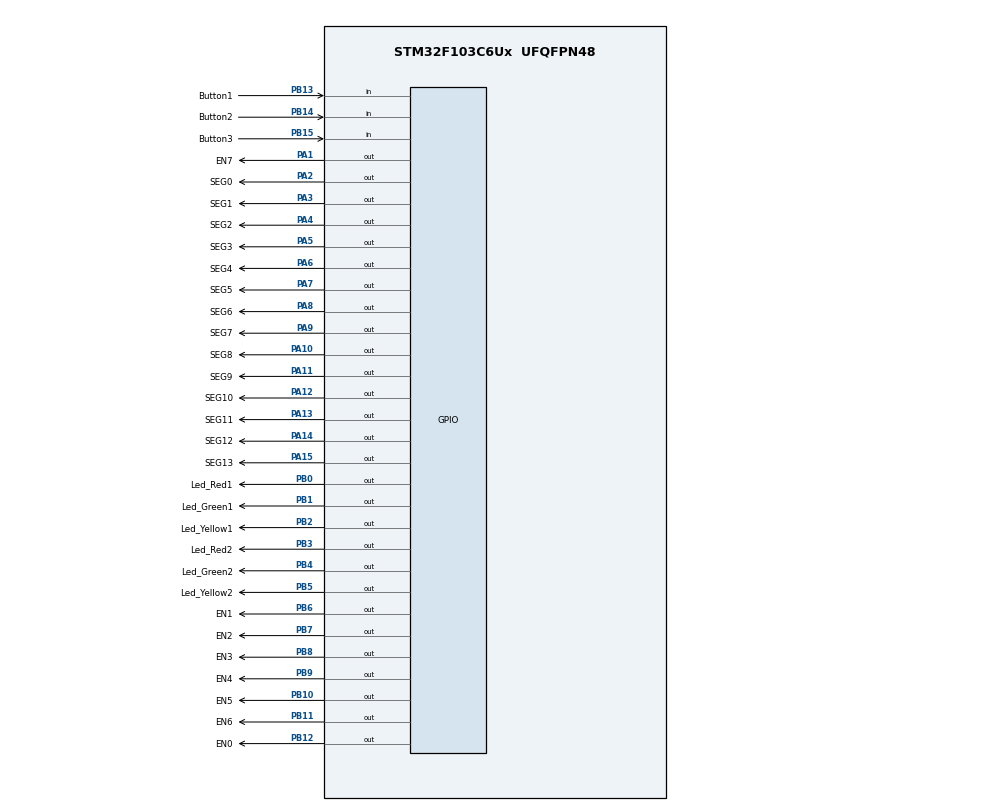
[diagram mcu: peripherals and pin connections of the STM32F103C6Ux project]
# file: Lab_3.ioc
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Mcu.Family=STM32F1
Mcu.Name=STM32F103C6Ux
Mcu.Package=UFQFPN48
NVIC.PriorityGroup=NVIC_PRIORITYGROUP_4
NVIC.TIM2_IRQn=true\:0\:0\:false\:false\:true\:true\:true
PA1.GPIO_Label=EN7
PA1.Signal=GPIO_Output
PA10.GPIO_Label=SEG8
PA10.Signal=GPIO_Output
PA11.GPIO_Label=SEG9
PA11.Signal=GPIO_Output
PA12.GPIO_Label=SEG10
PA12.Signal=GPIO_Output
PA13.GPIO_Label=SEG11
PA13.Signal=GPIO_Output
PA14.GPIO_Label=SEG12
PA14.Signal=GPIO_Output
PA15.GPIO_Label=SEG13
PA15.Signal=GPIO_Output
PA2.GPIO_Label=SEG0
PA2.Signal=GPIO_Output
PA3.GPIO_Label=SEG1
PA3.Signal=GPIO_Output
PA4.GPIO_Label=SEG2
PA4.Signal=GPIO_Output
PA5.GPIO_Label=SEG3
PA5.Signal=GPIO_Output
PA6.GPIO_Label=SEG4
PA6.Signal=GPIO_Output
PA7.GPIO_Label=SEG5
PA7.Signal=GPIO_Output
PA8.GPIO_Label=SEG6
PA8.Signal=GPIO_Output
PA9.GPIO_Label=SEG7
PA9.Signal=GPIO_Output
PB0.GPIO_Label=Led_Red1
PB0.Signal=GPIO_Output
PB1.GPIO_Label=Led_Green1
PB1.Signal=GPIO_Output
PB10.GPIO_Label=EN5
PB10.Signal=GPIO_Output
PB11.GPIO_Label=EN6
PB11.Signal=GPIO_Output
PB12.GPIO_Label=EN0
PB12.Signal=GPIO_Output
PB13.GPIO_Label=Button1
PB13.GPIO_PuPd=GPIO_PULLUP
PB13.Signal=GPIO_Input
PB14.GPIO_Label=Button2
PB14.GPIO_PuPd=GPIO_PULLUP
PB14.Signal=GPIO_Input
PB15.GPIO_Label=Button3
PB15.GPIO_PuPd=GPIO_PULLUP
PB15.Signal=GPIO_Input
PB2.GPIO_Label=Led_Yellow1
PB2.Signal=GPIO_Output
PB3.GPIO_Label=Led_Red2
PB3.Signal=GPIO_Output
PB4.GPIO_Label=Led_Green2
PB4.Signal=GPIO_Output
PB5.GPIO_Label=Led_Yellow2
PB5.Signal=GPIO_Output
PB6.GPIO_Label=EN1
PB6.Signal=GPIO_Output
PB7.GPIO_Label=EN2
PB7.Signal=GPIO_Output
PB8.GPIO_Label=EN3
PB8.Signal=GPIO_Output
PB9.GPIO_Label=EN4
PB9.Signal=GPIO_Output
ProjectManager.HeapSize=0x200
ProjectManager.StackSize=0x400
ProjectManager.TargetToolchain=STM32CubeIDE
RCC.APB1Freq_Value=8000000
RCC.APB2Freq_Value=8000000
TIM2.Period=9 
TIM2.Prescaler=7999
VP_SYS_VS_ND.Mode=No_Debug
VP_TIM2_VS_ClockSourceINT.Mode=Internal
board=custom

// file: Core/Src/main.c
/* USER CODE BEGIN Header */
/**
  ******************************************************************************
  * @file           : main.c
  * @brief          : Main program body
  ******************************************************************************
  * @attention
  *
  * <h2><center>&copy; Copyright (c) 2022 STMicroelectronics.
  * All rights reserved.</center></h2>
  *
  * This software component is licensed by ST under BSD 3-Clause license,
  * the "License"; You may not use this file except in compliance with the
  * License. You may obtain a copy of the License at:
  *                        opensource.org/licenses/BSD-3-Clause
  *
  ******************************************************************************
  */
/* USER CODE END Header */
#include "main.h"

/* USER CODE BEGIN Includes */

#include "software_timer.h"
#include "fsm_auto.h"
#include "button.h"
#include "global.h"
#include "check_mode.h"

/* USER CODE END Includes */

TIM_HandleTypeDef htim2;

void SystemClock_Config(void);
static void MX_GPIO_Init(void);
static void MX_TIM2_Init(void);

int main(void)
{

  /* MCU Configuration--------------------------------------------------------*/

  /* Reset of all peripherals, Initializes the Flash interface and the Systick. */
  HAL_Init();

  /* Configure the system clock */
  SystemClock_Config();

  /* Initialize all configured peripherals */
  MX_GPIO_Init();
  MX_TIM2_Init();
  /* USER CODE BEGIN 2 */
  HAL_TIM_Base_Start_IT (& htim2 );
  /* USER CODE END 2 */

  /* Infinite loop */
  /* USER CODE BEGIN WHILE */
  mode = INIT;
  status1 = INIT1;
  status2 = INIT2;
  setTimer3(2000);
  setTimer4(250);
  EN = 0;
  while (1)
  {
    /* USER CODE END WHILE */

    /* USER CODE BEGIN 3 */
	  //fsm_auto_run();
	  checkMode();
  }
  /* USER CODE END 3 */
}

void SystemClock_Config(void)
{
  RCC_OscInitTypeDef RCC_OscInitStruct = {0};
  RCC_ClkInitTypeDef RCC_ClkInitStruct = {0};

  /** Initializes the RCC Oscillators according to the specified parameters
  * in the RCC_OscInitTypeDef structure.
  */
  RCC_OscInitStruct.OscillatorType = RCC_OSCILLATORTYPE_HSI;
  RCC_OscInitStruct.HSIState = RCC_HSI_ON;
  RCC_OscInitStruct.HSICalibrationValue = RCC_HSICALIBRATION_DEFAULT;
  RCC_OscInitStruct.PLL.PLLState = RCC_PLL_NONE;
  if (HAL_RCC_OscConfig(&RCC_OscInitStruct) != HAL_OK)
  {
    Error_Handler();
  }
  /** Initializes the CPU, AHB and APB buses clocks
  */
  RCC_ClkInitStruct.ClockType = RCC_CLOCKTYPE_HCLK|RCC_CLOCKTYPE_SYSCLK
                              |RCC_CLOCKTYPE_PCLK1|RCC_CLOCKTYPE_PCLK2;
  RCC_ClkInitStruct.SYSCLKSource = RCC_SYSCLKSOURCE_HSI;
  RCC_ClkInitStruct.AHBCLKDivider = RCC_SYSCLK_DIV1;
  RCC_ClkInitStruct.APB1CLKDivider = RCC_HCLK_DIV1;
  RCC_ClkInitStruct.APB2CLKDivider = RCC_HCLK_DIV1;

  if (HAL_RCC_ClockConfig(&RCC_ClkInitStruct, FLASH_LATENCY_0) != HAL_OK)
  {
    Error_Handler();
  }
}

static void MX_TIM2_Init(void)
{

  TIM_ClockConfigTypeDef sClockSourceConfig = {0};
  TIM_MasterConfigTypeDef sMasterConfig = {0};

  htim2.Instance = TIM2;
  htim2.Init.Prescaler = 7999;
  htim2.Init.CounterMode = TIM_COUNTERMODE_UP;
  htim2.Init.Period = 9 ;
  htim2.Init.ClockDivision = TIM_CLOCKDIVISION_DIV1;
  htim2.Init.AutoReloadPreload = TIM_AUTORELOAD_PRELOAD_DISABLE;
  if (HAL_TIM_Base_Init(&htim2) != HAL_OK)
  {
    Error_Handler();
  }
  sClockSourceConfig.ClockSource = TIM_CLOCKSOURCE_INTERNAL;
  if (HAL_TIM_ConfigClockSource(&htim2, &sClockSourceConfig) != HAL_OK)
  {
    Error_Handler();
  }
  sMasterConfig.MasterOutputTrigger = TIM_TRGO_RESET;
  sMasterConfig.MasterSlaveMode = TIM_MASTERSLAVEMODE_DISABLE;
  if (HAL_TIMEx_MasterConfigSynchronization(&htim2, &sMasterConfig) != HAL_OK)
  {
    Error_Handler();
  }

}

static void MX_GPIO_Init(void)
{
  GPIO_InitTypeDef GPIO_InitStruct = {0};

  /* GPIO Ports Clock Enable */
  __HAL_RCC_GPIOA_CLK_ENABLE();
  __HAL_RCC_GPIOB_CLK_ENABLE();

  /*Configure GPIO pin Output Level */
  HAL_GPIO_WritePin(GPIOA, EN7_Pin|SEG0_Pin|SEG1_Pin|SEG2_Pin
                          |SEG3_Pin|SEG4_Pin|SEG5_Pin|SEG6_Pin
                          |SEG7_Pin|SEG8_Pin|SEG9_Pin|SEG10_Pin
                          |SEG11_Pin|SEG12_Pin|SEG13_Pin, GPIO_PIN_RESET);

  /*Configure GPIO pin Output Level */
  HAL_GPIO_WritePin(GPIOB, Led_Red1_Pin|Led_Green1_Pin|Led_Yellow1_Pin|EN5_Pin
                          |EN6_Pin|EN0_Pin|Led_Red2_Pin|Led_Green2_Pin
                          |Led_Yellow2_Pin|EN1_Pin|EN2_Pin|EN3_Pin
                          |EN4_Pin, GPIO_PIN_RESET);

  /*Configure GPIO pins : EN7_Pin SEG0_Pin SEG1_Pin SEG2_Pin
                           SEG3_Pin SEG4_Pin SEG5_Pin SEG6_Pin
                           SEG7_Pin SEG8_Pin SEG9_Pin SEG10_Pin
                           SEG11_Pin SEG12_Pin SEG13_Pin */
  GPIO_InitStruct.Pin = EN7_Pin|SEG0_Pin|SEG1_Pin|SEG2_Pin
                          |SEG3_Pin|SEG4_Pin|SEG5_Pin|SEG6_Pin
                          |SEG7_Pin|SEG8_Pin|SEG9_Pin|SEG10_Pin
                          |SEG11_Pin|SEG12_Pin|SEG13_Pin;
  GPIO_InitStruct.Mode = GPIO_MODE_OUTPUT_PP;
  GPIO_InitStruct.Pull = GPIO_NOPULL;
  GPIO_InitStruct.Speed = GPIO_SPEED_FREQ_LOW;
  HAL_GPIO_Init(GPIOA, &GPIO_InitStruct);

  /*Configure GPIO pins : Led_Red1_Pin Led_Green1_Pin Led_Yellow1_Pin EN5_Pin
                           EN6_Pin EN0_Pin Led_Red2_Pin Led_Green2_Pin
                           Led_Yellow2_Pin EN1_Pin EN2_Pin EN3_Pin
                           EN4_Pin */
  GPIO_InitStruct.Pin = Led_Red1_Pin|Led_Green1_Pin|Led_Yellow1_Pin|EN5_Pin
                          |EN6_Pin|EN0_Pin|Led_Red2_Pin|Led_Green2_Pin
                          |Led_Yellow2_Pin|EN1_Pin|EN2_Pin|EN3_Pin
                          |EN4_Pin;
  GPIO_InitStruct.Mode = GPIO_MODE_OUTPUT_PP;
  GPIO_InitStruct.Pull = GPIO_NOPULL;
  GPIO_InitStruct.Speed = GPIO_SPEED_FREQ_LOW;
  HAL_GPIO_Init(GPIOB, &GPIO_InitStruct);

  /*Configure GPIO pins : Button1_Pin Button2_Pin Button3_Pin */
  GPIO_InitStruct.Pin = Button1_Pin|Button2_Pin|Button3_Pin;
  GPIO_InitStruct.Mode = GPIO_MODE_INPUT;
  GPIO_InitStruct.Pull = GPIO_PULLUP;
  HAL_GPIO_Init(GPIOB, &GPIO_InitStruct);

}

/* USER CODE BEGIN 4 */
void HAL_TIM_PeriodElapsedCallback( TIM_HandleTypeDef * htim ){
	 timerRun();
	 getKeyInput();
}

void display7SEG( int counter){
	switch(counter){
    case 0:
		HAL_GPIO_WritePin(SEG0_GPIO_Port, SEG0_Pin, RESET);
		HAL_GPIO_WritePin(SEG1_GPIO_Port, SEG1_Pin, RESET);
		HAL_GPIO_WritePin(SEG2_GPIO_Port, SEG2_Pin, RESET);
		HAL_GPIO_WritePin(SEG3_GPIO_Port, SEG3_Pin, RESET);
		HAL_GPIO_WritePin(SEG4_GPIO_Port, SEG4_Pin, RESET);
		HAL_GPIO_WritePin(SEG5_GPIO_Port, SEG5_Pin, RESET);
		HAL_GPIO_WritePin(SEG6_GPIO_Port, SEG6_Pin, SET);
		break;
	case 1:
		HAL_GPIO_WritePin(SEG0_GPIO_Port, SEG0_Pin, SET);
		HAL_GPIO_WritePin(SEG1_GPIO_Port, SEG1_Pin, RESET);
		HAL_GPIO_WritePin(SEG2_GPIO_Port, SEG2_Pin, RESET);
		HAL_GPIO_WritePin(SEG3_GPIO_Port, SEG3_Pin, SET);
		HAL_GPIO_WritePin(SEG4_GPIO_Port, SEG4_Pin, SET);
		HAL_GPIO_WritePin(SEG5_GPIO_Port, SEG5_Pin, SET);
		HAL_GPIO_WritePin(SEG6_GPIO_Port, SEG6_Pin, SET);
		break;
	case 2:
		HAL_GPIO_WritePin(SEG0_GPIO_Port, SEG0_Pin, RESET);
		HAL_GPIO_WritePin(SEG1_GPIO_Port, SEG1_Pin, RESET);
		HAL_GPIO_WritePin(SEG2_GPIO_Port, SEG2_Pin, SET);
		HAL_GPIO_WritePin(SEG3_GPIO_Port, SEG3_Pin, RESET);
		HAL_GPIO_WritePin(SEG4_GPIO_Port, SEG4_Pin, RESET);
		HAL_GPIO_WritePin(SEG5_GPIO_Port, SEG5_Pin, SET);
		HAL_GPIO_WritePin(SEG6_GPIO_Port, SEG6_Pin, RESET);
		break;
	case 3:
		HAL_GPIO_WritePin(SEG0_GPIO_Port, SEG0_Pin, RESET);
		HAL_GPIO_WritePin(SEG1_GPIO_Port, SEG1_Pin, RESET);
		HAL_GPIO_WritePin(SEG2_GPIO_Port, SEG2_Pin, RESET);
		HAL_GPIO_WritePin(SEG3_GPIO_Port, SEG3_Pin, RESET);
		HAL_GPIO_WritePin(SEG4_GPIO_Port, SEG4_Pin, SET);
		HAL_GPIO_WritePin(SEG5_GPIO_Port, SEG5_Pin, SET);
		HAL_GPIO_WritePin(SEG6_GPIO_Port, SEG6_Pin, RESET);
		break;
	case 4:
		HAL_GPIO_WritePin(SEG0_GPIO_Port, SEG0_Pin, SET);
		HAL_GPIO_WritePin(SEG1_GPIO_Port, SEG1_Pin, RESET);
		HAL_GPIO_WritePin(SEG2_GPIO_Port, SEG2_Pin, RESET);
		HAL_GPIO_WritePin(SEG3_GPIO_Port, SEG3_Pin, SET);
		HAL_GPIO_WritePin(SEG4_GPIO_Port, SEG4_Pin, SET);
		HAL_GPIO_WritePin(SEG5_GPIO_Port, SEG5_Pin, RESET);
		HAL_GPIO_WritePin(SEG6_GPIO_Port, SEG6_Pin, RESET);
		break;
    case 5:
		HAL_GPIO_WritePin(SEG0_GPIO_Port, SEG0_Pin, RESET);
		HAL_GPIO_WritePin(SEG1_GPIO_Port, SEG1_Pin, SET);
		HAL_GPIO_WritePin(SEG2_GPIO_Port, SEG2_Pin, RESET);
		HAL_GPIO_WritePin(SEG3_GPIO_Port, SEG3_Pin, RESET);
		HAL_GPIO_WritePin(SEG4_GPIO_Port, SEG4_Pin, SET);
		HAL_GPIO_WritePin(SEG5_GPIO_Port, SEG5_Pin, RESET);
		HAL_GPIO_WritePin(SEG6_GPIO_Port, SEG6_Pin, RESET);
	break;
	case 6:
		HAL_GPIO_WritePin(SEG0_GPIO_Port, SEG0_Pin, RESET);
		HAL_GPIO_WritePin(SEG1_GPIO_Port, SEG1_Pin, SET);
		HAL_GPIO_WritePin(SEG2_GPIO_Port, SEG2_Pin, RESET);
		HAL_GPIO_WritePin(SEG3_GPIO_Port, SEG3_Pin, RESET);
		HAL_GPIO_WritePin(SEG4_GPIO_Port, SEG4_Pin, RESET);
		HAL_GPIO_WritePin(SEG5_GPIO_Port, SEG5_Pin, RESET);
		HAL_GPIO_WritePin(SEG6_GPIO_Port, SEG6_Pin, RESET);
		break;
	case 7:
		HAL_GPIO_WritePin(SEG0_GPIO_Port, SEG0_Pin, RESET);
		HAL_GPIO_WritePin(SEG1_GPIO_Port, SEG1_Pin, RESET);
		HAL_GPIO_WritePin(SEG2_GPIO_Port, SEG2_Pin, RESET);
		HAL_GPIO_WritePin(SEG3_GPIO_Port, SEG3_Pin, SET);
		HAL_GPIO_WritePin(SEG4_GPIO_Port, SEG4_Pin, SET);
		HAL_GPIO_WritePin(SEG5_GPIO_Port, SEG5_Pin, SET);
		HAL_GPIO_WritePin(SEG6_GPIO_Port, SEG6_Pin, SET);
		break;
	case 8:
		HAL_GPIO_WritePin(SEG0_GPIO_Port, SEG0_Pin, RESET);
		HAL_GPIO_WritePin(SEG1_GPIO_Port, SEG1_Pin, RESET);
		HAL_GPIO_WritePin(SEG2_GPIO_Port, SEG2_Pin, RESET);
		HAL_GPIO_WritePin(SEG3_GPIO_Port, SEG3_Pin, RESET);
		HAL_GPIO_WritePin(SEG4_GPIO_Port, SEG4_Pin, RESET);
		HAL_GPIO_WritePin(SEG5_GPIO_Port, SEG5_Pin, RESET);
		HAL_GPIO_WritePin(SEG6_GPIO_Port, SEG6_Pin, RESET);
		break;
	case 9:
		HAL_GPIO_WritePin(SEG0_GPIO_Port, SEG0_Pin, RESET);
		HAL_GPIO_WritePin(SEG1_GPIO_Port, SEG1_Pin, RESET);
		HAL_GPIO_WritePin(SEG2_GPIO_Port, SEG2_Pin, RESET);
		HAL_GPIO_WritePin(SEG3_GPIO_Port, SEG3_Pin, RESET);
		HAL_GPIO_WritePin(SEG4_GPIO_Port, SEG4_Pin, SET);
		HAL_GPIO_WritePin(SEG5_GPIO_Port, SEG5_Pin, RESET);
		HAL_GPIO_WritePin(SEG6_GPIO_Port, SEG6_Pin, RESET);

		break;
	}
}

void display7SEG1( int counter){
	switch(counter){
    case 0:
		HAL_GPIO_WritePin(SEG7_GPIO_Port, SEG7_Pin, RESET);
		HAL_GPIO_WritePin(SEG8_GPIO_Port, SEG8_Pin, RESET);
		HAL_GPIO_WritePin(SEG9_GPIO_Port, SEG9_Pin, RESET);
		HAL_GPIO_WritePin(SEG10_GPIO_Port, SEG10_Pin, RESET);
		HAL_GPIO_WritePin(SEG11_GPIO_Port, SEG11_Pin, RESET);
		HAL_GPIO_WritePin(SEG12_GPIO_Port, SEG12_Pin, RESET);
		HAL_GPIO_WritePin(SEG13_GPIO_Port, SEG13_Pin, SET);
		break;
	case 1:
		HAL_GPIO_WritePin(SEG7_GPIO_Port, SEG7_Pin, SET);
		HAL_GPIO_WritePin(SEG8_GPIO_Port, SEG8_Pin, RESET);
		HAL_GPIO_WritePin(SEG9_GPIO_Port, SEG9_Pin, RESET);
		HAL_GPIO_WritePin(SEG10_GPIO_Port, SEG10_Pin, SET);
		HAL_GPIO_WritePin(SEG11_GPIO_Port, SEG11_Pin, SET);
		HAL_GPIO_WritePin(SEG12_GPIO_Port, SEG12_Pin, SET);
		HAL_GPIO_WritePin(SEG13_GPIO_Port, SEG13_Pin, SET);
		break;
	case 2:
		HAL_GPIO_WritePin(SEG7_GPIO_Port, SEG7_Pin, RESET);
		HAL_GPIO_WritePin(SEG8_GPIO_Port, SEG8_Pin, RESET);
		HAL_GPIO_WritePin(SEG9_GPIO_Port, SEG9_Pin, SET);
		HAL_GPIO_WritePin(SEG10_GPIO_Port, SEG10_Pin, RESET);
		HAL_GPIO_WritePin(SEG11_GPIO_Port, SEG11_Pin, RESET);
		HAL_GPIO_WritePin(SEG12_GPIO_Port, SEG12_Pin, SET);
		HAL_GPIO_WritePin(SEG13_GPIO_Port, SEG13_Pin, RESET);
		break;
	case 3:
		HAL_GPIO_WritePin(SEG7_GPIO_Port, SEG7_Pin, RESET);
		HAL_GPIO_WritePin(SEG8_GPIO_Port, SEG8_Pin, RESET);
		HAL_GPIO_WritePin(SEG9_GPIO_Port, SEG9_Pin, RESET);
		HAL_GPIO_WritePin(SEG10_GPIO_Port, SEG10_Pin, RESET);
		HAL_GPIO_WritePin(SEG11_GPIO_Port, SEG11_Pin, SET);
		HAL_GPIO_WritePin(SEG12_GPIO_Port, SEG12_Pin, SET);
		HAL_GPIO_WritePin(SEG13_GPIO_Port, SEG13_Pin, RESET);
		break;
	case 4:
		HAL_GPIO_WritePin(SEG7_GPIO_Port, SEG7_Pin, SET);
		HAL_GPIO_WritePin(SEG8_GPIO_Port, SEG8_Pin, RESET);
		HAL_GPIO_WritePin(SEG9_GPIO_Port, SEG9_Pin, RESET);
		HAL_GPIO_WritePin(SEG10_GPIO_Port, SEG10_Pin, SET);
		HAL_GPIO_WritePin(SEG11_GPIO_Port, SEG11_Pin, SET);
		HAL_GPIO_WritePin(SEG12_GPIO_Port, SEG12_Pin, RESET);
		HAL_GPIO_WritePin(SEG13_GPIO_Port, SEG13_Pin, RESET);
		break;
    case 5:
		HAL_GPIO_WritePin(SEG7_GPIO_Port, SEG7_Pin, RESET);
		HAL_GPIO_WritePin(SEG8_GPIO_Port, SEG8_Pin, SET);
		HAL_GPIO_WritePin(SEG9_GPIO_Port, SEG9_Pin, RESET);
		HAL_GPIO_WritePin(SEG10_GPIO_Port, SEG10_Pin, RESET);
		HAL_GPIO_WritePin(SEG11_GPIO_Port, SEG11_Pin, SET);
		HAL_GPIO_WritePin(SEG12_GPIO_Port, SEG12_Pin, RESET);
		HAL_GPIO_WritePin(SEG13_GPIO_Port, SEG13_Pin, RESET);
	break;
	case 6:
		HAL_GPIO_WritePin(SEG7_GPIO_Port, SEG7_Pin, RESET);
		HAL_GPIO_WritePin(SEG8_GPIO_Port, SEG8_Pin, SET);
		HAL_GPIO_WritePin(SEG9_GPIO_Port, SEG9_Pin, RESET);
		HAL_GPIO_WritePin(SEG10_GPIO_Port, SEG10_Pin, RESET);
		HAL_GPIO_WritePin(SEG11_GPIO_Port, SEG11_Pin, RESET);
		HAL_GPIO_WritePin(SEG12_GPIO_Port, SEG12_Pin, RESET);
		HAL_GPIO_WritePin(SEG13_GPIO_Port, SEG13_Pin, RESET);
		break;
	case 7:
		HAL_GPIO_WritePin(SEG7_GPIO_Port, SEG7_Pin, RESET);
		HAL_GPIO_WritePin(SEG8_GPIO_Port, SEG8_Pin, RESET);
		HAL_GPIO_WritePin(SEG9_GPIO_Port, SEG9_Pin, RESET);
		HAL_GPIO_WritePin(SEG10_GPIO_Port, SEG10_Pin, SET);
		HAL_GPIO_WritePin(SEG11_GPIO_Port, SEG11_Pin, SET);
		HAL_GPIO_WritePin(SEG12_GPIO_Port, SEG12_Pin, SET);
		HAL_GPIO_WritePin(SEG13_GPIO_Port, SEG13_Pin, SET);
		break;
	case 8:
		HAL_GPIO_WritePin(SEG7_GPIO_Port, SEG7_Pin, RESET);
		HAL_GPIO_WritePin(SEG8_GPIO_Port, SEG8_Pin, RESET);
		HAL_GPIO_WritePin(SEG9_GPIO_Port, SEG9_Pin, RESET);
		HAL_GPIO_WritePin(SEG10_GPIO_Port, SEG10_Pin, RESET);
		HAL_GPIO_WritePin(SEG11_GPIO_Port, SEG11_Pin, RESET);
		HAL_GPIO_WritePin(SEG12_GPIO_Port, SEG12_Pin, RESET);
		HAL_GPIO_WritePin(SEG13_GPIO_Port, SEG13_Pin, RESET);
		break;
	case 9:
		HAL_GPIO_WritePin(SEG7_GPIO_Port, SEG7_Pin, RESET);
		HAL_GPIO_WritePin(SEG8_GPIO_Port, SEG8_Pin, RESET);
		HAL_GPIO_WritePin(SEG9_GPIO_Port, SEG9_Pin, RESET);
		HAL_GPIO_WritePin(SEG10_GPIO_Port, SEG10_Pin, RESET);
		HAL_GPIO_WritePin(SEG11_GPIO_Port, SEG11_Pin, SET);
		HAL_GPIO_WritePin(SEG12_GPIO_Port, SEG12_Pin, RESET);
		HAL_GPIO_WritePin(SEG13_GPIO_Port, SEG13_Pin, RESET);

		break;
	}
}

/* USER CODE END 4 */

void Error_Handler(void)
{
  __disable_irq();
  while (1)
  {
  }
}

/************************ (C) COPYRIGHT STMicroelectronics *****END OF FILE****/
